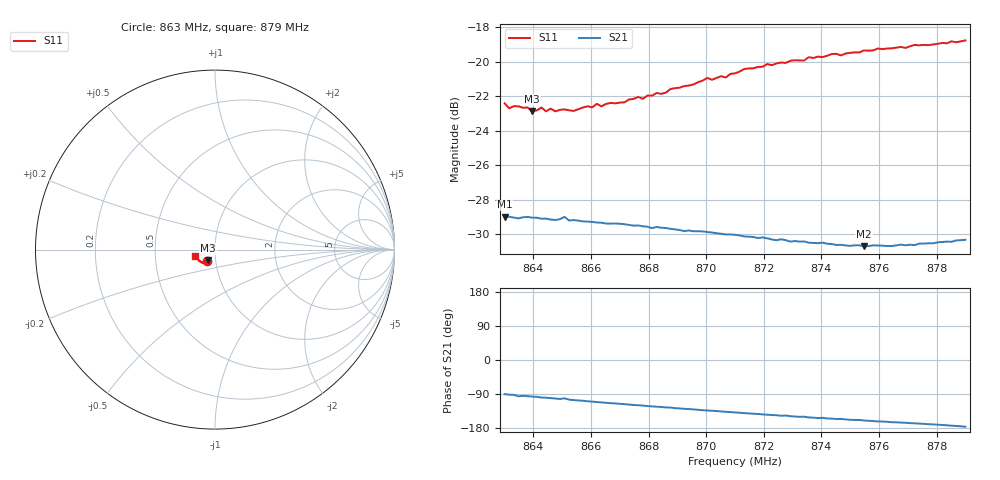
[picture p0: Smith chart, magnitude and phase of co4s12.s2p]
# HZ S RI R 50
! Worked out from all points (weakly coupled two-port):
!   101 points, 863 MHz to 879 MHz, reference 50 ohm
!   highest |S21| = -28.97 dB at 863 MHz (marker M1); lowest = -30.7 dB at 875.48 MHz (marker M2)
!   lowest |S11| = -22.9 dB at 863.96 MHz (marker M3), VSWR 1.15, Z = 45.9 - j5.56 ohm
!   |S11| at or under -10 dB: start of sweep to end of sweep
!   S12 and S22 are empty: the file has one direction only
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8.63e8  -0.0437 -0.062  -8e-06 -0.0356  0 0  0 0
8.6316e8  -0.042 -0.0601  -0.000954 -0.0356  0 0  0 0
8.638e8  -0.0417 -0.0608  -0.00346 -0.0354  0 0  0 0
8.6396e8  -0.0392 -0.0602  -0.00402 -0.0351  0 0  0 0
8.6428e8  -0.0403 -0.0618  -0.00551 -0.0347  0 0  0 0
8.6444e8  -0.0388 -0.0605  -0.00578 -0.0347  0 0  0 0
8.646e8  -0.0399 -0.0614  -0.00644 -0.0343  0 0  0 0
8.6476e8  -0.0388 -0.0606  -0.00697 -0.0341  0 0  0 0
8.6508e8  -0.0363 -0.0632  -0.0068 -0.0349  0 0  0 0
8.6524e8  -0.0379 -0.0617  -0.00876 -0.0336  0 0  0 0
8.654e8  -0.0369 -0.0619  -0.00949 -0.0335  0 0  0 0
8.6572e8  -0.0375 -0.0635  -0.0104 -0.0329  0 0  0 0
8.6636e8  -0.0392 -0.0631  -0.0128 -0.0317  0 0  0 0
8.6844e8  -0.0419 -0.0691  -0.0185 -0.0274  0 0  0 0
8.7004e8  -0.0495 -0.075  -0.022 -0.0234  0 0  0 0
8.7068e8  -0.0523 -0.0734  -0.023 -0.0217  0 0  0 0
8.71e8  -0.0545 -0.075  -0.0236 -0.0209  0 0  0 0
8.7212e8  -0.0635 -0.0754  -0.025 -0.0179  0 0  0 0
8.7372e8  -0.074 -0.0712  -0.0264 -0.0139  0 0  0 0
8.7548e8  -0.0878 -0.0629  -0.0274 -0.0101  0 0  0 0
8.7644e8  -0.0947 -0.055  -0.0281 -0.00799  0 0  0 0
8.79e8  -0.1102 -0.0343  -0.0304 -0.00213  0 0  0 0
